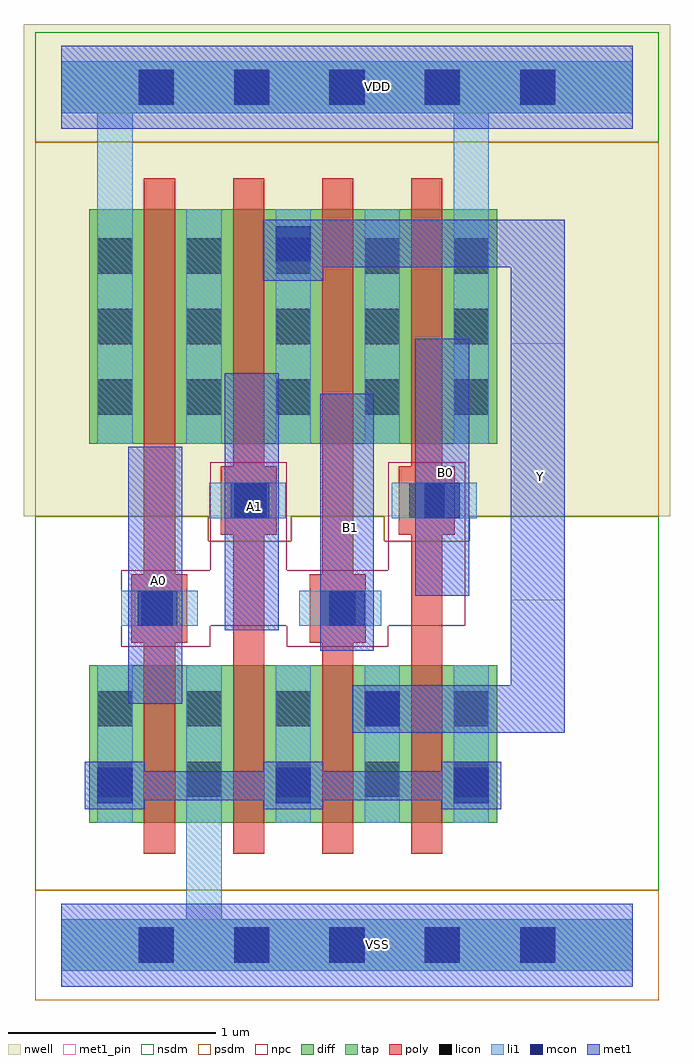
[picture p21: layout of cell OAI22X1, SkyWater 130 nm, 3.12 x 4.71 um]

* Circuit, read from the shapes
.subckt OAI22X1 A0 A1 B0 B1 VDD VSS Y
XM1 VSS A0 n1 VSS sky130_fd_pr__nfet_01v8 w=0.76 l=0.15
XM2 n1 A1 VSS VSS sky130_fd_pr__nfet_01v8 w=0.76 l=0.15
XM3 Y B1 n1 VSS sky130_fd_pr__nfet_01v8 w=0.76 l=0.15
XM4 n1 B0 Y VSS sky130_fd_pr__nfet_01v8 w=0.76 l=0.15
XM5 n2 A0 VDD VDD sky130_fd_pr__pfet_01v8 w=1.13 l=0.15
XM6 Y A1 n2 VDD sky130_fd_pr__pfet_01v8 w=1.13 l=0.15
XM7 n3 B1 Y VDD sky130_fd_pr__pfet_01v8 w=1.13 l=0.15
XM8 VDD B0 n3 VDD sky130_fd_pr__pfet_01v8 w=1.13 l=0.15
.ends

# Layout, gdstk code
from math import pi, radians
import gdstk
lib = gdstk.Library(unit=1e-6, precision=1e-09)
def R(c, l, rs):  # rectangles x0, y0, x1, y1
    for r in rs: c.add(gdstk.rectangle(r[:2], r[2:], *l))
def A(c, l, x, y, w, h, nx, ny, dx, dy):  # array of equal rectangles
    R(c, l, [(x+i*dx, y+j*dy, x+i*dx+w, y+j*dy+h) for i in range(nx) for j in range(ny)])
def P(c, l, *ps):  # polygons
    for p in ps: c.add(gdstk.Polygon(p, *l))
nwell = (64, 20)
diff = (65, 20)
tap = (65, 44)
poly = (66, 20)
licon = (66, 44)
li1 = (67, 20)
mcon = (67, 44)
met1_pin = (68, 16)
met1 = (68, 20)
nsdm = (93, 44)
psdm = (94, 20)
npc = (95, 20)

pfet_01v8_cdns_716492285 = lib.new_cell('pfet_01v8_CDNS_71649228522126')
R(pfet_01v8_cdns_716492285, nwell, [(-0.405,-0.18,0.385,1.31)])
R(pfet_01v8_cdns_716492285, diff, [(-0.225,0,0,1.13), (0,0,0.15,1.13), (0.15,0,0.205,1.13)])
R(pfet_01v8_cdns_716492285, poly, [(0,-0.15,0.15,-0.095), (0,-0.095,0.15,0), (0,0,0.15,1.13), (0,1.13,0.15,1.225), (0,1.225,0.15,1.28)])
R(pfet_01v8_cdns_716492285, psdm, [(-0.235,-0.13,0.215,1.26)])

nfet_01v8_cdns_716492285 = lib.new_cell('nfet_01v8_CDNS_71649228522127')
R(nfet_01v8_cdns_716492285, diff, [(-0.055,0,0,0.76), (0,0,0.15,0.76), (0.15,0,0.375,0.76)])
R(nfet_01v8_cdns_716492285, poly, [(0,-0.15,0.15,-0.095), (0,-0.095,0.15,0), (0,0,0.15,0.76), (0,0.76,0.15,0.855), (0,0.855,0.15,0.91)])
R(nfet_01v8_cdns_716492285, licon, [(0.205,0.125,0.375,0.295), (0.205,0.465,0.375,0.635)])
R(nfet_01v8_cdns_716492285, li1, [(0.205,0,0.375,0.76)])
R(nfet_01v8_cdns_716492285, nsdm, [(-0.065,-0.13,0.385,0.89)])

c_pfet_01v8_cdns_716492285 = lib.new_cell('pfet_01v8_CDNS_71649228522128')
R(c_pfet_01v8_cdns_716492285, nwell, [(-0.445,-0.18,0.385,1.31)])
R(c_pfet_01v8_cdns_716492285, diff, [(-0.265,0,0,1.13), (0,0,0.15,1.13), (0.15,0,0.205,1.13)])
R(c_pfet_01v8_cdns_716492285, poly, [(0,-0.15,0.15,-0.095), (0,-0.095,0.15,0), (0,0,0.15,1.13), (0,1.13,0.15,1.225), (0,1.225,0.15,1.28)])
A(c_pfet_01v8_cdns_716492285, licon, -0.225, 0.14, 0.17, 0.17, 1, 3, 0, 0.34)
R(c_pfet_01v8_cdns_716492285, li1, [(-0.225,0,-0.055,1.13)])
R(c_pfet_01v8_cdns_716492285, psdm, [(-0.405,-0.13,0.215,1.26)])

c_pfet_01v8_cdns_716492285_ = lib.new_cell('pfet_01v8_CDNS_71649228522129')
R(c_pfet_01v8_cdns_716492285_, nwell, [(-0.445,-0.18,0.555,1.31)])
R(c_pfet_01v8_cdns_716492285_, diff, [(-0.265,0,0,1.13), (0,0,0.15,1.13), (0.15,0,0.375,1.13)])
R(c_pfet_01v8_cdns_716492285_, poly, [(0,-0.15,0.15,-0.095), (0,-0.095,0.15,0), (0,0,0.15,1.13), (0,1.13,0.15,1.225), (0,1.225,0.15,1.28)])
A(c_pfet_01v8_cdns_716492285_, licon, -0.225, 0.14, 0.17, 0.17, 1, 3, 0, 0.34)
R(c_pfet_01v8_cdns_716492285_, li1, [(-0.225,0,-0.055,1.13)])
R(c_pfet_01v8_cdns_716492285_, psdm, [(-0.405,-0.13,0.385,1.26)])

c_nfet_01v8_cdns_716492285 = lib.new_cell('nfet_01v8_CDNS_7164922852220')
R(c_nfet_01v8_cdns_716492285, diff, [(-0.265,0,0,0.76), (0,0,0.15,0.76), (0.15,0,0.205,0.76)])
R(c_nfet_01v8_cdns_716492285, poly, [(0,-0.15,0.15,-0.095), (0,-0.095,0.15,0), (0,0,0.15,0.76), (0,0.76,0.15,0.855), (0,0.855,0.15,0.91)])
R(c_nfet_01v8_cdns_716492285, licon, [(-0.225,0.125,-0.055,0.295), (-0.225,0.465,-0.055,0.635)])
R(c_nfet_01v8_cdns_716492285, li1, [(-0.225,0,-0.055,0.76)])
R(c_nfet_01v8_cdns_716492285, nsdm, [(-0.405,-0.13,0.215,0.89)])

c_pfet_01v8_cdns_716492285__ = lib.new_cell('pfet_01v8_CDNS_71649228522130')
R(c_pfet_01v8_cdns_716492285__, nwell, [(-0.235,-0.18,0.555,1.31)])
R(c_pfet_01v8_cdns_716492285__, diff, [(-0.055,0,0,1.13), (0,0,0.15,1.13), (0.15,0,0.375,1.13)])
R(c_pfet_01v8_cdns_716492285__, poly, [(0,-0.15,0.15,-0.095), (0,-0.095,0.15,0), (0,0,0.15,1.13), (0,1.13,0.15,1.225), (0,1.225,0.15,1.28)])
A(c_pfet_01v8_cdns_716492285__, licon, 0.205, 0.14, 0.17, 0.17, 1, 3, 0, 0.34)
R(c_pfet_01v8_cdns_716492285__, li1, [(0.205,0,0.375,1.13)])
R(c_pfet_01v8_cdns_716492285__, psdm, [(-0.065,-0.13,0.385,1.26)])

c_nfet_01v8_cdns_716492285_ = lib.new_cell('nfet_01v8_CDNS_716492285227')
R(c_nfet_01v8_cdns_716492285_, diff, [(-0.225,0,0,0.76), (0,0,0.15,0.76), (0.15,0,0.415,0.76)])
R(c_nfet_01v8_cdns_716492285_, poly, [(0,-0.15,0.15,-0.095), (0,-0.095,0.15,0), (0,0,0.15,0.76), (0,0.76,0.15,0.855), (0,0.855,0.15,0.91)])
R(c_nfet_01v8_cdns_716492285_, licon, [(-0.225,0.125,-0.055,0.295), (0.205,0.125,0.375,0.295), (-0.225,0.465,-0.055,0.635), (0.205,0.465,0.375,0.635)])
R(c_nfet_01v8_cdns_716492285_, li1, [(-0.225,0,-0.055,0.76), (0.205,0,0.375,0.76)])
R(c_nfet_01v8_cdns_716492285_, nsdm, [(-0.235,-0.13,0.555,0.89)])

c_nfet_01v8_cdns_716492285__ = lib.new_cell('nfet_01v8_CDNS_71649228522131')
R(c_nfet_01v8_cdns_716492285__, diff, [(-0.055,0,0,0.76), (0,0,0.15,0.76), (0.15,0,0.375,0.76)])
R(c_nfet_01v8_cdns_716492285__, poly, [(0,-0.15,0.15,-0.095), (0,-0.095,0.15,0), (0,0,0.15,0.76), (0,0.76,0.15,0.855), (0,0.855,0.15,0.91)])
R(c_nfet_01v8_cdns_716492285__, licon, [(0.205,0.125,0.375,0.295), (0.205,0.465,0.375,0.635)])
R(c_nfet_01v8_cdns_716492285__, li1, [(0.205,0,0.375,0.76)])
R(c_nfet_01v8_cdns_716492285__, nsdm, [(-0.065,-0.13,0.385,0.89)])

l1m1_c_cdns_716492285223 = lib.new_cell('L1M1_C_CDNS_716492285223')
R(l1m1_c_cdns_716492285223, li1, [(-0.165,-0.085,0.165,0.085)])
R(l1m1_c_cdns_716492285223, mcon, [(-0.085,-0.085,0.085,0.085)])
R(l1m1_c_cdns_716492285223, met1, [(-0.115,-0.145,0.115,0.145)])

pyl1con_c_cdns_716492285 = lib.new_cell('PYL1CON_C_CDNS_716492285220')
R(pyl1con_c_cdns_716492285, poly, [(-0.135,-0.165,0.135,0.165)])
R(pyl1con_c_cdns_716492285, licon, [(-0.085,-0.085,0.085,0.085)])
R(pyl1con_c_cdns_716492285, npc, [(-0.185,-0.185,0.185,0.185)])

licondiff_c_cdns_7164922 = lib.new_cell('LICONDIFF_C_CDNS_7164922852213')
R(licondiff_c_cdns_7164922, diff, [(-0.125,-0.145,0.125,0.145)])
R(licondiff_c_cdns_7164922, licon, [(-0.085,-0.085,0.085,0.085), (-0.085,-0.085,0.085,0.085)])

oai22x1 = lib.new_cell('OAI22X1')
R(oai22x1, nwell, [(-0.18,2.07,2.94,4.305), (-0.18,3.875,2.94,4.445)])
A(oai22x1, licon, 0.375, -0.085, 0.17, 0.17, 5, 1, 0.46, 0)
R(oai22x1, licon, [(0.375,4.055,0.545,4.225), (0.375,4.055,0.545,4.225), (0.835,4.055,1.005,4.225), (0.835,4.055,1.005,4.225), (1.295,4.055,1.465,4.225), (1.295,4.055,1.465,4.225), (1.755,4.055,1.925,4.225), (1.755,4.055,1.925,4.225), (2.215,4.055,2.385,4.225), (2.215,4.055,2.385,4.225)])
R(oai22x1, li1, [(0.62,1.54,0.66,1.71), (1.15,1.54,1.215,1.71), (0.715,2.06,0.755,2.23), (1.595,2.06,1.675,2.23)])
A(oai22x1, mcon, 0.375, -0.085, 0.17, 0.17, 5, 1, 0.46, 0)
R(oai22x1, mcon, [(0.375,4.055,0.545,4.225), (0.375,4.055,0.545,4.225), (0.835,4.055,1.005,4.225), (0.835,4.055,1.005,4.225), (1.295,4.055,1.465,4.225), (1.295,4.055,1.465,4.225), (1.755,4.055,1.925,4.225), (1.755,4.055,1.925,4.225), (2.215,4.055,2.385,4.225), (2.215,4.055,2.385,4.225)])
R(oai22x1, met1_pin, [(0.325,1.165,0.585,2.405), (1.25,1.42,1.51,2.66), (0.79,1.52,1.05,2.76), (2.17,1.665,2.43,2.905), (1.71,1.685,1.97,2.925)])
R(oai22x1, nsdm, [(-0.125,3.875,2.885,4.405), (-0.125,3.875,2.885,4.405), (-0.125,3.93,2.885,4.35), (-0.125,3.93,2.885,4.35)])
P(oai22x1, nsdm, [(2.885,2.07),(1.97,2.07),(1.97,1.95),(1.56,1.95),(1.56,2.07),(1.11,2.07),(1.11,1.95),(0.71,1.95),(0.71,2.07),(-0.125,2.07),(-0.125,0.265),(2.885,0.265)])
R(oai22x1, psdm, [(-0.125,-0.265,2.885,0.265), (-0.125,-0.21,2.885,0.21)])
P(oai22x1, psdm, [(2.885,3.875),(-0.125,3.875),(-0.125,2.07),(0.71,2.07),(0.71,1.95),(1.11,1.95),(1.11,2.07),(1.56,2.07),(1.56,1.95),(1.97,1.95),(1.97,2.07),(2.885,2.07)])
P(oai22x1, npc, [(1.95,2.33),(1.58,2.33),(1.58,1.81),(1.09,1.81),(1.09,2.33),(0.72,2.33),(0.72,1.81),(0.29,1.81),(0.29,1.44),(0.72,1.44),(0.72,1.54),(1.09,1.54),(1.09,1.44),(1.58,1.44),(1.58,1.54),(1.95,1.54)])
oai22x1.add(gdstk.FlexPath([(0.475,2.27),(0.475,1.395)], 0.15, ends="flush", simple_path=True, layer=66, datatype=20))  # poly
oai22x1.add(gdstk.FlexPath([(0.905,2.27),(0.905,1.5)], 0.15, ends="flush", simple_path=True, layer=66, datatype=20))  # poly
oai22x1.add(gdstk.FlexPath([(1.335,2.27),(1.335,1.5)], 0.15, ends="flush", simple_path=True, layer=66, datatype=20))  # poly
oai22x1.add(gdstk.FlexPath([(1.765,2.27),(1.765,1.5)], 0.15, ends="flush", simple_path=True, layer=66, datatype=20))  # poly
oai22x1.add(gdstk.FlexPath([(0.69,3.115),(0.69,3.55)], 0.17, ends="flush", simple_path=True, layer=67, datatype=20))  # li1
oai22x1.add(gdstk.FlexPath([(0.69,2.775),(0.69,3.155)], 0.17, ends="flush", simple_path=True, layer=67, datatype=20))  # li1
oai22x1.add(gdstk.FlexPath([(1.55,2.73),(1.55,3.55)], 0.17, ends="flush", simple_path=True, layer=67, datatype=20))  # li1
oai22x1.add(gdstk.FlexPath([(1.55,2.42),(1.55,2.815)], 0.17, ends="flush", simple_path=True, layer=67, datatype=20))  # li1
oai22x1.add(gdstk.FlexPath([(0.69,2.42),(0.69,2.815)], 0.17, ends="flush", simple_path=True, layer=67, datatype=20))  # li1
oai22x1.add(gdstk.FlexPath([(0.26,3.55),(0.26,4.14)], 0.17, ends=(0, 0.085), simple_path=True, layer=67, datatype=20))  # li1
oai22x1.add(gdstk.FlexPath([(0.69,0.59),(0.69,0.005)], 0.17, ends="flush", simple_path=True, layer=67, datatype=20))  # li1
oai22x1.add(gdstk.FlexPath([(1.98,3.55),(1.98,4.14)], 0.17, ends="flush", simple_path=True, layer=67, datatype=20))  # li1
oai22x1.add(gdstk.FlexPath([(2.675,4.14),(0,4.14)], 0.25, ends=(0.085, 0), simple_path=True, layer=67, datatype=20))  # li1
oai22x1.add(gdstk.FlexPath([(2.675,4.14),(0,4.14)], 0.25, ends=(0.085, 0), simple_path=True, layer=67, datatype=20))  # li1
oai22x1.add(gdstk.FlexPath([(2.675,0),(0,0)], 0.25, ends=(0.085, 0), simple_path=True, layer=67, datatype=20))  # li1
oai22x1.add(gdstk.FlexPath([(0.26,4.14),(0.215,4.14)], 0.17, ends=(0.085, 0), simple_path=True, layer=67, datatype=20))  # li1
oai22x1.add(gdstk.FlexPath([(0,4.14),(2.76,4.14)], 0.4, ends="flush", simple_path=True, layer=68, datatype=16))  # met1_pin
oai22x1.add(gdstk.FlexPath([(0,4.14),(2.76,4.14)], 0.4, ends="flush", simple_path=True, layer=68, datatype=16))  # met1_pin
oai22x1.add(gdstk.FlexPath([(0,0),(2.76,0)], 0.4, ends="flush", simple_path=True, layer=68, datatype=16))  # met1_pin
oai22x1.add(gdstk.FlexPath([(0,4.14),(2.76,4.14)], 0.25, ends="flush", simple_path=True, layer=65, datatype=44))  # tap
oai22x1.add(gdstk.FlexPath([(0,0),(2.76,0)], 0.25, ends="flush", simple_path=True, layer=65, datatype=44))  # tap
oai22x1.add(gdstk.FlexPath([(0,4.14),(2.76,4.14)], 0.25, ends="flush", simple_path=True, layer=65, datatype=44))  # tap
oai22x1.add(gdstk.FlexPath([(1.38,1.42),(1.38,2.66)], 0.26, ends="flush", simple_path=True, layer=68, datatype=20))  # met1
oai22x1.add(gdstk.FlexPath([(0.92,1.52),(0.92,2.76)], 0.26, ends="flush", simple_path=True, layer=68, datatype=20))  # met1
oai22x1.add(gdstk.FlexPath([(1.84,1.685),(1.84,2.925)], 0.26, ends="flush", simple_path=True, layer=68, datatype=20))  # met1
oai22x1.add(gdstk.FlexPath([(1.12,3.385),(2.25,3.385)], 0.23, ends=(0.145, 0), simple_path=True, layer=68, datatype=20))  # met1
oai22x1.add(gdstk.FlexPath([(1.55,1.14),(2.3,1.14)], 0.23, ends="flush", simple_path=True, layer=68, datatype=20))  # met1
oai22x1.add(gdstk.FlexPath([(2.3,1.025),(2.3,3.5)], 0.26, ends="flush", simple_path=True, layer=68, datatype=20))  # met1
oai22x1.add(gdstk.FlexPath([(0.26,0.77),(1.98,0.77)], 0.14, ends="flush", simple_path=True, layer=68, datatype=20))  # met1
oai22x1.add(gdstk.FlexPath([(1.12,3.205),(1.12,3.385)], 0.29, ends=(0, 0.115), simple_path=True, layer=68, datatype=20))  # met1
oai22x1.add(gdstk.FlexPath([(0.455,1.165),(0.455,2.405)], 0.26, ends="flush", simple_path=True, layer=68, datatype=20))  # met1
oai22x1.add(gdstk.FlexPath([(0,4.14),(2.76,4.14)], 0.4, ends="flush", simple_path=True, layer=68, datatype=20))  # met1
oai22x1.add(gdstk.FlexPath([(0,0),(2.76,0)], 0.4, ends="flush", simple_path=True, layer=68, datatype=20))  # met1
oai22x1.add(gdstk.Reference(pfet_01v8_cdns_716492285, (1.41,2.42), rotation=pi, x_reflection=True))
oai22x1.add(gdstk.Reference(nfet_01v8_cdns_716492285, (1.26,0.59)))
oai22x1.add(gdstk.Reference(c_pfet_01v8_cdns_716492285, (1.84,2.42), rotation=pi, x_reflection=True))
oai22x1.add(gdstk.Reference(c_pfet_01v8_cdns_716492285_, (0.4,2.42)))
oai22x1.add(gdstk.Reference(c_nfet_01v8_cdns_716492285, (1.84,0.59), rotation=pi, x_reflection=True))
oai22x1.add(gdstk.Reference(c_pfet_01v8_cdns_716492285__, (0.83,2.42)))
oai22x1.add(gdstk.Reference(c_nfet_01v8_cdns_716492285_, (0.55,0.59), rotation=pi, x_reflection=True))
oai22x1.add(gdstk.Reference(c_nfet_01v8_cdns_716492285__, (0.83,0.59)))
oai22x1.add(gdstk.Reference(l1m1_c_cdns_716492285223, (1.84,2.145), x_reflection=True))
oai22x1.add(gdstk.Reference(l1m1_c_cdns_716492285223, (1.38,1.625), x_reflection=True))
oai22x1.add(gdstk.Reference(l1m1_c_cdns_716492285223, (0.92,2.145), x_reflection=True))
oai22x1.add(gdstk.Reference(l1m1_c_cdns_716492285223, (0.455,1.625), x_reflection=True))
oai22x1.add(gdstk.Reference(l1m1_c_cdns_716492285223, (1.12,3.385), rotation=pi/2))
oai22x1.add(gdstk.Reference(l1m1_c_cdns_716492285223, (1.55,1.14), rotation=pi/2))
oai22x1.add(gdstk.Reference(l1m1_c_cdns_716492285223, (1.98,0.77), rotation=pi/2))
oai22x1.add(gdstk.Reference(l1m1_c_cdns_716492285223, (1.12,0.77), rotation=pi/2))
oai22x1.add(gdstk.Reference(l1m1_c_cdns_716492285223, (0.26,0.77), rotation=pi/2))
oai22x1.add(gdstk.Reference(pyl1con_c_cdns_716492285, (1.765,2.145), x_reflection=True))
oai22x1.add(gdstk.Reference(pyl1con_c_cdns_716492285, (1.335,1.625), x_reflection=True))
oai22x1.add(gdstk.Reference(pyl1con_c_cdns_716492285, (0.905,2.145), x_reflection=True))
oai22x1.add(gdstk.Reference(pyl1con_c_cdns_716492285, (0.475,1.625), x_reflection=True))
oai22x1.add(gdstk.Reference(licondiff_c_cdns_7164922, (1.55,3.325)))
oai22x1.add(gdstk.Reference(licondiff_c_cdns_7164922, (1.55,2.985)))
oai22x1.add(gdstk.Reference(licondiff_c_cdns_7164922, (1.55,2.645)))
oai22x1.add(gdstk.Reference(licondiff_c_cdns_7164922, (0.69,3.325)))
oai22x1.add(gdstk.Reference(licondiff_c_cdns_7164922, (0.69,2.985)))
oai22x1.add(gdstk.Reference(licondiff_c_cdns_7164922, (0.69,2.645)))
oai22x1.add(gdstk.Label('B1', (1.395,2.015), layer=68, texttype=5))
oai22x1.add(gdstk.Label('A1', (0.935,2.115), layer=68, texttype=5))
oai22x1.add(gdstk.Label('B0', (1.855,2.28), layer=68, texttype=5))
oai22x1.add(gdstk.Label('Y', (2.315,2.26), layer=68, texttype=5))
oai22x1.add(gdstk.Label('VDD', (1.525,4.145), layer=68, texttype=5))
oai22x1.add(gdstk.Label('VDD', (1.525,4.145), layer=68, texttype=5))
oai22x1.add(gdstk.Label('VSS', (1.525,0.005), layer=68, texttype=5))
oai22x1.add(gdstk.Label('A0', (0.47,1.76), layer=68, texttype=5))

lib.write_gds('OAI22X1.gds')
